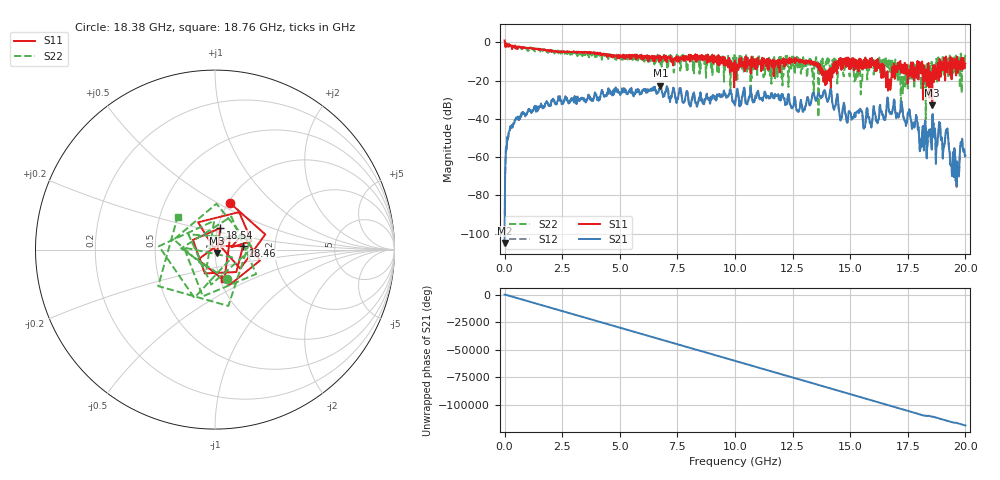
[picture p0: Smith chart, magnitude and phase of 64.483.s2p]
! Created with skrf 1.9.0 (http://scikit-rf.org).
# Hz S RI R 50.0
!freq ReS11 ImS11 ReS21 ImS21 ReS12 ImS12 ReS22 ImS22
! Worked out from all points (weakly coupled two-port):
!   1001 points, 1 MHz to 20 GHz, reference 50 ohm
!   highest |S21| = -22.56 dB at 6.761 GHz (marker M1); lowest = -104.9 dB at 1 MHz (marker M2)
!   lowest |S11| = -32.8 dB at 18.56 GHz (marker M3), VSWR 1.05, Z = 51.1 - j2.02 ohm
!   |S11| at or under -10 dB: 13.36 GHz to 14.32 GHz (958.8 MHz wide, 6.93 % of centre); 16.22 GHz to 17.17 GHz (945 MHz wide, 5.66 % of centre); 18.12 GHz to 18.87 GHz (752.6 MHz wide, 4.07 % of centre) (the widest 3 of 101)
!   |S22| runs from -40.1 to -0.2 dB; largest |S21 - S12| = 0.0076
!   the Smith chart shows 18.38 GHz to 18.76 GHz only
!   S11 on the Smith chart (normalised r, x): 18.38 GHz: 1.02, +0.57; 18.46 GHz: 1.37, +0.05; 18.54 GHz: 1.03, +0.25; 18.76 GHz: 1.05, -0.36
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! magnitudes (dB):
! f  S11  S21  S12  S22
! 1 MHz  1.1  -104.9  -106.6  -0.2
! 161 MHz  -2.2  -49.5  -49.6  -1.8
! 481 MHz  -2.1  -40.4  -40.0  -2.6
! 3.341 GHz  -4.8  -28.9  -29.1  -6.8
! 6.681 GHz  -7.4  -26.1  -25.6  -8.4
! 6.761 GHz  -9.2  -22.6  -22.7  -10.1
! 10 GHz  -9.5  -32.6  -33.0  -7.2
! 13.34 GHz  -11.1  -28.9  -28.5  -15.1
! 13.94 GHz  -14.9  -27.7  -27.9  -9.9
! 15.6 GHz  -9.1  -45.0  -45.0  -13.4
! 16.68 GHz  -23.1  -35.5  -35.5  -9.3
! 17.28 GHz  -11.9  -36.0  -36.1  -26.6
! 18.38 GHz  -11.3  -46.8  -46.6  -15.0
! 18.46 GHz  -16.1  -48.6  -48.0  -11.4
! 18.54 GHz  -18.1  -56.0  -55.7  -10.1
! 18.56 GHz  -32.8  -39.3  -39.4  -15.9
! 18.76 GHz  -15.2  -54.2  -54.0  -11.1
! 19.2 GHz  -15.5  -45.9  -45.5  -10.5
! 19.4 GHz  -19.2  -64.3  -63.9  -9.1
! 19.64 GHz  -7.4  -62.2  -62.3  -12.5
! 19.86 GHz  -14.0  -50.7  -50.3  -8.7
! 20 GHz  -11.0  -59.4  -58.7  -6.1
